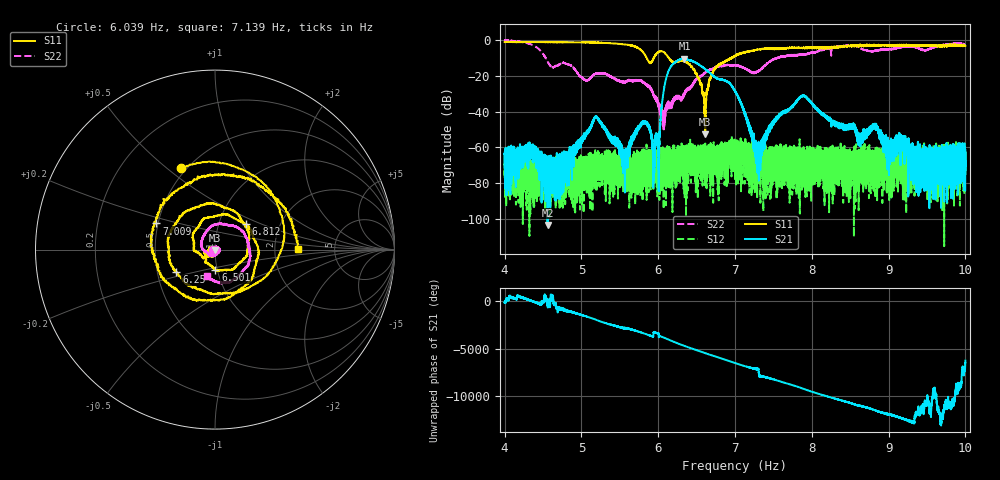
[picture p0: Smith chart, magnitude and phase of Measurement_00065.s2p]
!Created with skrf (http://scikit-rf.org).
# Hz S RI R 50.0
!freq ReS11 ImS11 ReS21 ImS21 ReS12 ImS12 ReS22 ImS22
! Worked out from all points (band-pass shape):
!   14001 points, 4 Hz to 10 Hz, reference 50 ohm
!   highest |S21| = -10.35 dB at 6.341 Hz (marker M1); lowest = -103.5 dB at 4.56 Hz (marker M2)
!   |S21| within 3 dB of the highest: 6.192824 Hz to 6.193284 Hz (460.1 uHz wide, 0.00743 % of centre); 6.194 Hz to 6.52 Hz (326.4 mHz wide, 5.13 % of centre)
!   lowest |S11| = -52.8 dB at 6.612 Hz (marker M3), VSWR 1.00, Z = 49.9 - j0.207 ohm
!   |S11| at or under -10 dB: 5.85 Hz to 5.943 Hz (92.53 mHz wide, 1.57 % of centre); 6.139 Hz to 6.954 Hz (815.7 mHz wide, 12.5 % of centre)
!   |S22| runs from -50.0 to -0.2 dB; largest |S21 - S12| = 0.3
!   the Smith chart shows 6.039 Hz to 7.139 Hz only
!   S11 on the Smith chart (normalised r, x): 6.039 Hz: 0.47, +0.56; 6.25 Hz: 0.63, -0.17; 6.501 Hz: 0.98, -0.22; 6.812 Hz: 1.34, +0.40; 7.009 Hz: 0.49, +0.16; 7.139 Hz: 2.74, +0.04
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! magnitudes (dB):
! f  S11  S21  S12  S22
! 4 Hz  -1.1  -63.9  -75.8  -0.2
! 4.56 Hz  -1.1  -103.5  -71.8  -12.0
! 5 Hz  -1.2  -56.5  -75.8  -20.8
! 5.192 Hz  -1.4  -43.0  -81.4  -18.9
! 5.565 Hz  -2.4  -72.4  -67.8  -23.6
! 5.802 Hz  -6.6  -46.1  -73.1  -23.6
! 6 Hz  -6.7  -60.6  -71.2  -34.8
! 6.039 Hz  -6.2  -40.0  -72.1  -40.7
! 6.116 Hz  -8.7  -19.5  -64.1  -35.8
! 6.25 Hz  -12.1  -11.6  -71.0  -31.7
! 6.341 Hz  -11.7  -10.3  -68.4  -29.9
! 6.501 Hz  -18.9  -12.9  -67.1  -21.5
! 6.612 Hz  -52.8  -16.2  -70.4  -18.2
! 6.812 Hz  -13.1  -22.0  -64.9  -14.5
! 7 Hz  -8.9  -28.6  -58.3  -14.2
! 7.009 Hz  -8.9  -29.2  -60.4  -14.0
! 7.139 Hz  -6.7  -42.3  -64.8  -16.1
! 7.311 Hz  -5.2  -63.8  -65.0  -17.4
! 7.593 Hz  -4.7  -41.6  -62.5  -9.5
! 8 Hz  -4.4  -35.3  -81.4  -6.9
! 9 Hz  -3.0  -64.0  -62.4  -5.1
! 10 Hz  -3.3  -61.5  -62.2  -3.0
